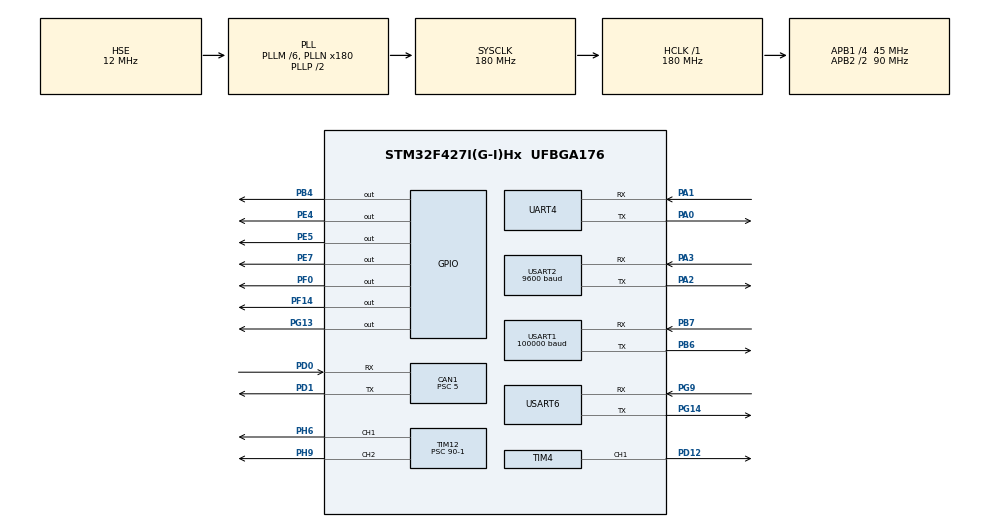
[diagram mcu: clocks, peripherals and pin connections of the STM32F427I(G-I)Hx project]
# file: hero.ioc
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CAN1.BS1=CAN_BS1_3TQ
CAN1.BS2=CAN_BS2_5TQ
CAN1.CalculateTimeBit=1000
CAN1.CalculateTimeQuantum=111.11111111111111
CAN1.Prescaler=5
CAN1.RFLM=DISABLE
CAN1.TTCM=ENABLE
CAN1.TXFP=ENABLE
Dma.Request0=USART1_RX
Dma.USART1_RX.0.Direction=DMA_PERIPH_TO_MEMORY
Dma.USART1_RX.0.FIFOMode=DMA_FIFOMODE_DISABLE
Dma.USART1_RX.0.Instance=DMA2_Stream2
Dma.USART1_RX.0.MemDataAlignment=DMA_MDATAALIGN_BYTE
Dma.USART1_RX.0.MemInc=DMA_MINC_ENABLE
Dma.USART1_RX.0.Mode=DMA_CIRCULAR
Dma.USART1_RX.0.PeriphDataAlignment=DMA_PDATAALIGN_BYTE
Dma.USART1_RX.0.PeriphInc=DMA_PINC_DISABLE
Dma.USART1_RX.0.Priority=DMA_PRIORITY_VERY_HIGH
Mcu.Family=STM32F4
Mcu.Name=STM32F427I(G-I)Hx
Mcu.Package=UFBGA176
NVIC.CAN1_RX0_IRQn=true\:1\:0\:true\:false\:true\:true
NVIC.CAN1_TX_IRQn=true\:0\:0\:false\:false\:true\:true
NVIC.DMA2_Stream2_IRQn=true\:0\:0\:false\:true\:true\:1\:false
NVIC.PriorityGroup=NVIC_PRIORITYGROUP_4
NVIC.TIM6_DAC_IRQn=true\:2\:0\:true\:true\:true\:2\:true
NVIC.UART4_IRQn=true\:5\:0\:true\:false\:true\:true
NVIC.USART2_IRQn=true\:3\:0\:true\:false\:true\:true
NVIC.USART6_IRQn=true\:4\:0\:true\:true\:true\:3\:true
PA0/WKUP.Mode=Asynchronous
PA0/WKUP.Signal=UART4_TX
PA1.Mode=Asynchronous
PA1.Signal=UART4_RX
PA2.GPIO_PuPd=GPIO_PULLDOWN
PA2.Mode=Multiprocessor_communication
PA2.Signal=USART2_TX
PA3.GPIO_PuPd=GPIO_NOPULL
PA3.Mode=Multiprocessor_communication
PA3.Signal=USART2_RX
PB4.Signal=GPIO_Output
PB6.Mode=Multiprocessor_communication
PB6.Signal=USART1_TX
PB7.Mode=Multiprocessor_communication
PB7.Signal=USART1_RX
PD0.Mode=Master
PD0.Signal=CAN1_RX
PD1.Mode=Master
PD1.Signal=CAN1_TX
PD12.Signal=S_TIM4_CH1
PE4.Signal=GPIO_Output
PE5.Signal=GPIO_Output
PE7.Signal=GPIO_Output
PF0.Signal=GPIO_Output
PF14.Signal=GPIO_Output
PG13.Signal=GPIO_Output
PG14.Mode=Multiprocessor_communication
PG14.Signal=USART6_TX
PG9.Mode=Multiprocessor_communication
PG9.Signal=USART6_RX
PH0/OSC_IN.Mode=HSE-External-Oscillator
PH0/OSC_IN.Signal=RCC_OSC_IN
PH1/OSC_OUT.Mode=HSE-External-Oscillator
PH1/OSC_OUT.Signal=RCC_OSC_OUT
PH6.Signal=S_TIM12_CH1
PH9.Signal=S_TIM12_CH2
ProjectManager.HeapSize=0x200
ProjectManager.StackSize=0x400
ProjectManager.TargetToolchain=MDK-ARM V5
RCC.48MHZClocksFreq_Value=90000000
RCC.AHBFreq_Value=180000000
RCC.APB1CLKDivider=RCC_HCLK_DIV4
RCC.APB1Freq_Value=45000000
RCC.APB1TimFreq_Value=90000000
RCC.APB2CLKDivider=RCC_HCLK_DIV2
RCC.APB2Freq_Value=90000000
RCC.APB2TimFreq_Value=180000000
RCC.CortexFreq_Value=180000000
RCC.HCLKFreq_Value=180000000
RCC.HSE_VALUE=12000000
RCC.HSI_VALUE=16000000
RCC.LSE_VALUE=32768
RCC.PLLM=6
RCC.PLLN=180
RCC.PLLSourceVirtual=RCC_PLLSOURCE_HSE
RCC.SYSCLKFreq_VALUE=180000000
RCC.SYSCLKSource=RCC_SYSCLKSOURCE_PLLCLK
RCC.VCOOutputFreq_Value=360000000
SH.S_TIM12_CH1.0=TIM12_CH1,PWM Generation1 CH1
SH.S_TIM12_CH2.0=TIM12_CH2,PWM Generation2 CH2
SH.S_TIM4_CH1.0=TIM4_CH1,PWM Generation1 CH1
TIM12.Channel-PWM\ Generation1\ CH1=TIM_CHANNEL_1
TIM12.Channel-PWM\ Generation2\ CH2=TIM_CHANNEL_2
TIM12.Period=2500-1
TIM12.Prescaler=90-1
TIM12.Pulse-PWM\ Generation1\ CH1=1000
TIM12.Pulse-PWM\ Generation2\ CH2=1000
TIM4.Channel-PWM\ Generation1\ CH1=TIM_CHANNEL_1
TIM4.Period=2000-1
TIM4.Prescaler=90-1
TIM4.Pulse-PWM\ Generation1\ CH1=500
TIM6.Period=1000-1
TIM6.Prescaler=90-1
UART4.VirtualMode=Asynchronous
USART1.BaudRate=100000
USART1.VirtualMode=VM_ASYNC
USART2.BaudRate=9600
USART2.VirtualMode=VM_ASYNC
USART6.VirtualMode=VM_ASYNC
VP_TIM12_VS_ClockSourceINT.Mode=Internal
VP_TIM4_VS_ClockSourceINT.Mode=Internal
VP_TIM6_VS_ClockSourceINT.Mode=Enable_Timer
board=custom

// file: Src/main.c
/**
  ******************************************************************************
  * @file           : main.c
  * @brief          : Main program body
  ******************************************************************************
  ** This notice applies to any and all portions of this file
  * that are not between comment pairs USER CODE BEGIN and
  * USER CODE END. Other portions of this file, whether
  * inserted by the user or by software development tools
  * are owned by their respective copyright owners.
  *
  * COPYRIGHT(c) 2019 STMicroelectronics
  *
  * Redistribution and use in source and binary forms, with or without modification,
  * are permitted provided that the following conditions are met:
  *   1. Redistributions of source code must retain the above copyright notice,
  *      this list of conditions and the following disclaimer.
  *   2. Redistributions in binary form must reproduce the above copyright notice,
  *      this list of conditions and the following disclaimer in the documentation
  *      and/or other materials provided with the distribution.
  *   3. Neither the name of STMicroelectronics nor the names of its contributors
  *      may be used to endorse or promote products derived from this software
  *      without specific prior written permission.
  *
  * THIS SOFTWARE IS PROVIDED BY THE COPYRIGHT HOLDERS AND CONTRIBUTORS "AS IS"
  * AND ANY EXPRESS OR IMPLIED WARRANTIES, INCLUDING, BUT NOT LIMITED TO, THE
  * IMPLIED WARRANTIES OF MERCHANTABILITY AND FITNESS FOR A PARTICULAR PURPOSE ARE
  * DISCLAIMED. IN NO EVENT SHALL THE COPYRIGHT HOLDER OR CONTRIBUTORS BE LIABLE
  * FOR ANY DIRECT, INDIRECT, INCIDENTAL, SPECIAL, EXEMPLARY, OR CONSEQUENTIAL
  * DAMAGES (INCLUDING, BUT NOT LIMITED TO, PROCUREMENT OF SUBSTITUTE GOODS OR
  * SERVICES; LOSS OF USE, DATA, OR PROFITS; OR BUSINESS INTERRUPTION) HOWEVER
  * CAUSED AND ON ANY THEORY OF LIABILITY, WHETHER IN CONTRACT, STRICT LIABILITY,
  * OR TORT (INCLUDING NEGLIGENCE OR OTHERWISE) ARISING IN ANY WAY OUT OF THE USE
  * OF THIS SOFTWARE, EVEN IF ADVISED OF THE POSSIBILITY OF SUCH DAMAGE.
  *
  ******************************************************************************
  */
#include "main.h"
#include "stm32f4xx_hal.h"
#include "can.h"
#include "dma.h"
#include "tim.h"
#include "usart.h"
#include "gpio.h"

/* USER CODE BEGIN Includes */
/*

                                   RRmsr
                                  sRRRMRRRmmSr
                                  RMMMMMRMRMRRRMRMmss
                                 sRRMMMMMMMMMMMRMRMRRRMRmmSrr
                                 RRMMMMMMMMMRMMMMMMMMRRRRMRMRMRRmss
                                SRMMMMMMMMMRMRMMMMMMMMMMMMMRMRMRMRMRRRmMSrr
                                RRRmMMMMMMMmRMRMRRRMRMRMMMMMMMMMMMRMRMRRRMRMRMm
                               mMRMMMMMMRR    rrsmMRMRMRRRRRMMMMMMMMMMMMMMMRRR
                              rMRMMMMMMMRS            sSmRRRRMRMRRRMRMMMMMMMRS
                              MRMMMMMMMRR                   rrsMMRMRMRMRMRMRMMmMssr
                             rRRMMMMMMRRs                           ssmMRMRMRRRRRMRMRMMms
                             RMMMMMMMRRR                                   rsmmRMRMRMRMRMRRRMRsss
                            sMRMMMMMMMRr                                          rrsMMMRRRMRRRMRMRM
                            MRMMMMMMMRM       mMssr                                      rsmmRMRMRMm
                           SRRMMMMMMRMr       RmmmMMMMmSMmmmmmmmMmMmMMRMRMRMRMRMRMRRRMRs        ssMr
                           RMMMMMMMMRM       sMssssssSsmMRMRRRMRMRRRRRMRMRMRMRMRMRRRMRMs
                          mRRMMMMMMMR        mmsssssssrmRMMMMMRMRMRRRMRMRMMmRMMMMMMMMMRs
                          MRMMMMMMMRS        MSsssssssrMMMMMmMMr            RRMMmMMMmMMs
                         MRMMMMMMMRR        sMsssssssrsMMMMMMMRr            RRMmMMMmMMRs
                        rRMMMMMMMRRs        mmsssssssrmRMMmMMMRm            MRMMMMMMMMMS
                        RMMMMMMMMMR         MSsssssssrRMMMMmMmRMrrssssmmRMMmRMMMMMMMMMRs
                       sMRMMMMMMMRs        rRsssssssrsRMmMmMMMMRMRMRRRMRRRMRMMMMMMMMMMMm
                       RRMMMMMMMRM         mMsssssssrMRMMMMMMMMMMMRMMMRMRMRMRMRMRRRMRMRM
                      SRMMMMMMMRR          MsssssssssRMRMRMRMRMMMMMMMRMMRRRRMRMRMRMRRRMR
                      RMMMMMMMMRM         rMsssssssSS rr  sMSssssssssSm
                     mRMMMMMMMRR          mmsssssssRr      mMssssSsSsSMr
                    rRRMMMMMMMRS          MSssssssSM        RMsSSSSSSsMM
                    MRMMMMMMMRM          rMsssssssMm         RmSSSSSSSSRr
                   rRMMMMMMMRMs          SMsssssssRr         rRSSSSSSSSMm
                   RMRMMMMMMMM           MsssssssSM           SRSSSSSSSmR
                  sMRMMMMmMmMMMmms      rMsssssssmm            MRsSsSSSSRs
                  MRMMMMMMMMMMRRMRRRRMsrsmsssssssRs             MMsSSSSSmR
                 sRMMMMMMmMMMMMMMMRMRMRMsrssssssSm              rMmsSSSSSMr
                 RMRMMMMMMMMMMMMMMMMMMMmrssssssssSs              sMSSSSSsRM
                RRRRRMRMMMMMMMMMMMMMMMRsrsssssssrMRMRRMmrr        mRSSSSSSR
                  rSmRMRRRMRMMMMMMMMMRMrssssssssrMRRMRMRRRMRmSr    mmssSsSRS
                      rsmMRMRRRMRMMMMRmrsssssssrsMMMMMMMMRRMRMRRRmsrmsssssmM
                            rSmRMRMRMRsrsssssssrSRMMMMMMMMMMMMMRRRMRMRMMmSsRr
                                  rsMmsssssssssrRMMMMMMMMMMMMMMMMMMMMMMMRMRRRmsr
                                      msssssssrmRRRRMMMMMMMMMMMMMMMMMMMMMMMMMRRRRRMmSr
                                     sMsssssssSSMMRMRMRMRMMMMMMMMMMMMMMMMMMMMMMMRRRMRMRRRmsr
                                     MSssssssSM    rsmMRMRMRMRMMMMMMMMMMMMMMMMMMMMMMMRMRMRSMMMmSr
                             mMss   rMSSSssssmm         rrmmRMRMRMMMMMMmMMMMMMMMMMMMMMMMRssssSmmMMm
                           rMMsmmmmSssrrrsmMmRs               rrsRMMMMMMMRMMMMMMMMMMMMMRmrssssssmR
                          SMSssssssSSssssr  rs                  SMMMMMRMmRRMRMMMMMMMMMRMssssssssRs
                        rMmsssssssssssrrMR                     mMMMMMMRM  rRMMMRMRRRRRMmrssssssmM
                       sMSssssssssssrrsMRRs                   MRMmMMMMMMRr rRssmrrmRRRRrsssssssRr
                      mMsssssssssssrrmMRMRM                  mRRMMmMRRMRMRr sRsMs    rsSssssssMM
                    sMmsssssssssssrsRMRMMMRm                mMMMMmRMSMRMMRRr mMmR     MSssssssR
                   mMSssssssssssSsMRRMMMMMMR               mMRmMMRMM rMRMMMR  MmMs   mRssssssMS
                 rMmsssssssssssMm rMRMMMMMMRm             mMRMMMMRM   rMRMMMR  MRM   MSsssssSM
                sMSssssssssssSMs    MRRMMMMRMr           mMRMMMRRM     sRRMMMR rms  mMssssssMS
               MMsssssssssssMMr      MRRMMMMRM          mMRMMMMMM       sMRMMMRr   rRssssssSR
             sMmssssssssssSRS         SRMMMMRRr        SMRMMMMMM         sMRMMMRr  MmssssssRs
    r       mMsssssssssssmRr           sRRMMRMR       SRRMMMMMR           sMRMMMRrrRssssssmM
    RRMmsrrMmsssssssssssMm              rRMRMRRs     SMRMMmMRM             sMRMRMrsmssssssMr
   sRRRMRmSsssssssssssmMs                 RMRMRR    SMRMMMMRR               sMRm rMssssssmM
   RMRMMrrsssssssssssss                    RMRMRs  SMRMMmMMR                 ss  RSssssssRr
  MRRRSrsssssssssssrrmSrr                   mMRMR rRRMMMMRR                     SMssssssMm
 rMRMsrsssssssssssrrmRMRMRMmSr               sMRRRMRmMMMRR                      MSsssssSM
  rssrsssssssssssrsRRMMMRMRMRMRRMsr           rMRRRmMMMMR                      mMssssssMS
  SSsssssssssssssMMRMMMMMMMMMRMRMRRRRmSr        RRMMMMMR                      rRssssssSR
 mRmmmmsssssssmsRMRMRMRMMMMMMMMMMMRMRMRMRRRSr    sRMRMR                       MmssssssRs
    rsSmMMmSmRs   ssmRMRRRMRMMMMMMMMMMMMMRMRMRMms sRMm                       rMssssssmM
         rsmMr         rSmRRRMRMRMMMMMMMMMMMMMRRRMmMRsr                      MmssssssRr
                            rsMRMRRRRRMMMMMMMMMMMMMMMRMRRMSr                sRssssssmM
                                 rsmRMRMRRRMMMMMMMMMMMMMRMRRRMRSs           RSssssssRr
                                      rSMRMRRRMRMMMMMMMMMMMMMRRRRRMMSsr    SRssssssMm
                                           rsmRMRMRMRMMMMMMMMMMMMRRMRRRRRSsmSsssssSR
                                                rsmRMRMRRRMMMMMMMMMMMMRRRRmrssssssMm
                                                     rsmRMRMRMRMMMMMMMMMRmrssssssSR
                                                          rsmRMRMRMRMMMRMsrssssssRS
                                                               rsmRMRMRRMrssssssmM
                                                                     smRMMmmSSssRs
                                                                         rsmMMMRR
                                                                               s
*/
#include "can_my.h"
#include "usart_my.h"
#include "mpu6050.h"
#include "debug.h"
#include "my_flash.h"
#include "tele_control.h"
#include "delay.h"
#include "control.h"
/* USER CODE END Includes */

/* USER CODE BEGIN PV */
/* Private variables ---------------------------------------------------------*/

/* USER CODE END PV */

void SystemClock_Config(void);
static void MX_NVIC_Init(void);

/* USER CODE BEGIN PFP */
/* Private function prototypes -----------------------------------------------*/

/* USER CODE END PFP */

int main(void)
{

  /* MCU Configuration----------------------------------------------------------*/

  /* Reset of all peripherals, Initializes the Flash interface and the Systick. */
   HAL_Init();

  /* Configure the system clock */
  SystemClock_Config();

  /* USER CODE BEGIN SysInit */
	delay_init(180);

  /* USER CODE END SysInit */

  /* Initialize all configured peripherals */
  MX_GPIO_Init();
  MX_DMA_Init();
  MX_CAN1_Init();
  MX_TIM4_Init();
  MX_TIM6_Init();
  MX_TIM12_Init();
  MX_UART4_Init();
  MX_USART1_UART_Init();
  MX_USART6_UART_Init();
  MX_USART2_UART_Init();

  /* Initialize interrupts */
  MX_NVIC_Init();
  /* USER CODE BEGIN 2 */
  CAN1_Init();																//can初始化
  HAL_Delay(100);
  para_init();
	HAL_UART_Receive_DMA(&huart1,teledata_rx,sizeof(teledata_rx));				//遥控器接收数据通过DMA中断存入teledata
	HAL_UART_Receive_IT(&huart2, camera.recieve,sizeof(camera.recieve));
  ALLPID_Init();
	HAL_TIM_PWM_Start(&htim12,TIM_CHANNEL_1);
	HAL_TIM_PWM_Start(&htim12,TIM_CHANNEL_2);
	TIM12->CCR1 = 800;
	TIM12->CCR2 = 800;
	HAL_Delay(2000);
	HAL_Delay(2000);
	HAL_Delay(2000);
	MPU6050_Init();																//陀螺仪初始化

	//HAL_Delay(2000);
	//HAL_Delay(2000);

	HAL_TIM_Base_Start_IT(&htim6);												//定时器中断打开
	//MPU6050_GyroOffest();																//陀螺仪校准
  debug_init();                            //led初始化

//
//	HAL_UART_Receive_IT(&huart2, camera.recieve,sizeof(camera.recieve));		//开启视觉数据接收中断
//	HAL_UART_Receive _IT(&huart4, &rxPID.pidReadBuf, 1);							//pid调节参数接收中断
//	HAL_UART_Receive_IT(&huart6, judge.recieve,sizeof(judge.recieve));			//开启裁判系统接收中断?
  /* USER CODE END 2 */

  /* Infinite loop */
  while (1)
  {

  }

}

void SystemClock_Config(void)
{

  RCC_OscInitTypeDef RCC_OscInitStruct;
  RCC_ClkInitTypeDef RCC_ClkInitStruct;

    /**Configure the main internal regulator output voltage
    */
  __HAL_RCC_PWR_CLK_ENABLE();

  __HAL_PWR_VOLTAGESCALING_CONFIG(PWR_REGULATOR_VOLTAGE_SCALE1);

    /**Initializes the CPU, AHB and APB busses clocks
    */
  RCC_OscInitStruct.OscillatorType = RCC_OSCILLATORTYPE_HSE;
  RCC_OscInitStruct.HSEState = RCC_HSE_ON;
  RCC_OscInitStruct.PLL.PLLState = RCC_PLL_ON;
  RCC_OscInitStruct.PLL.PLLSource = RCC_PLLSOURCE_HSE;
  RCC_OscInitStruct.PLL.PLLM = 6;
  RCC_OscInitStruct.PLL.PLLN = 180;
  RCC_OscInitStruct.PLL.PLLP = RCC_PLLP_DIV2;
  RCC_OscInitStruct.PLL.PLLQ = 4;
  if (HAL_RCC_OscConfig(&RCC_OscInitStruct) != HAL_OK)
  {
    _Error_Handler(__FILE__, __LINE__);
  }

    /**Activate the Over-Drive mode
    */
  if (HAL_PWREx_EnableOverDrive() != HAL_OK)
  {
    _Error_Handler(__FILE__, __LINE__);
  }

    /**Initializes the CPU, AHB and APB busses clocks
    */
  RCC_ClkInitStruct.ClockType = RCC_CLOCKTYPE_HCLK|RCC_CLOCKTYPE_SYSCLK
                              |RCC_CLOCKTYPE_PCLK1|RCC_CLOCKTYPE_PCLK2;
  RCC_ClkInitStruct.SYSCLKSource = RCC_SYSCLKSOURCE_PLLCLK;
  RCC_ClkInitStruct.AHBCLKDivider = RCC_SYSCLK_DIV1;
  RCC_ClkInitStruct.APB1CLKDivider = RCC_HCLK_DIV4;
  RCC_ClkInitStruct.APB2CLKDivider = RCC_HCLK_DIV2;

  if (HAL_RCC_ClockConfig(&RCC_ClkInitStruct, FLASH_LATENCY_5) != HAL_OK)
  {
    _Error_Handler(__FILE__, __LINE__);
  }

    /**Configure the Systick interrupt time
    */
  HAL_SYSTICK_Config(HAL_RCC_GetHCLKFreq()/1000);

    /**Configure the Systick
    */
  HAL_SYSTICK_CLKSourceConfig(SYSTICK_CLKSOURCE_HCLK);

  /* SysTick_IRQn interrupt configuration */
  HAL_NVIC_SetPriority(SysTick_IRQn, 0, 0);
}

/**
  * @brief NVIC Configuration.
  * @retval None
  */
static void MX_NVIC_Init(void)
{
  /* DMA2_Stream2_IRQn interrupt configuration */
  HAL_NVIC_SetPriority(DMA2_Stream2_IRQn, 0, 0);
  HAL_NVIC_EnableIRQ(DMA2_Stream2_IRQn);
  /* TIM6_DAC_IRQn interrupt configuration */
  HAL_NVIC_SetPriority(TIM6_DAC_IRQn, 2, 0);
  HAL_NVIC_EnableIRQ(TIM6_DAC_IRQn);
  /* USART6_IRQn interrupt configuration */
  HAL_NVIC_SetPriority(USART6_IRQn, 4, 0);
  HAL_NVIC_EnableIRQ(USART6_IRQn);
}

void _Error_Handler(char *file, int line)
{
  while(1)
  {
  }
}

/************************ (C) COPYRIGHT STMicroelectronics *****END OF FILE****/
